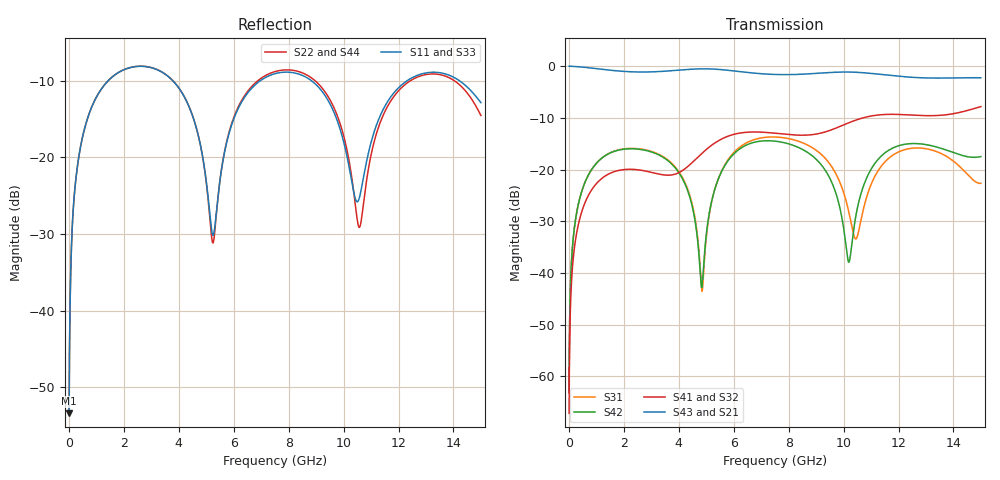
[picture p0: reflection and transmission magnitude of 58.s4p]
! Created with skrf 1.8.0 (http://scikit-rf.org).
# GHz S RI R 50.0
!freq ReS11 ImS11 ReS12 ImS12 ReS13 ImS13
! ReS14 ImS14
! ReS21 ImS21 ReS22 ImS22 ReS23 ImS23
! ReS24 ImS24
! ReS31 ImS31 ReS32 ImS32 ReS33 ImS33
! ReS34 ImS34
! ReS41 ImS41 ReS42 ImS42 ReS43 ImS43
! ReS44 ImS44
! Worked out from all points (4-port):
!   2499 points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, 5 MHz to 15 GHz, reference 50 ohm
!   strongest paths, dB at 5 MHz, 3.476 GHz, 7.19 GHz, 11.1 GHz, 15 GHz:
!     S43: 0.0, -1.0, -1.5, -1.5, -2.3
!     S21: 0.0, -1.0, -1.5, -1.5, -2.2
!     S41: -67.2, -21.1, -12.8, -9.6, -7.8
!     S32: -67.2, -21.1, -12.9, -9.6, -7.8
!     S42: -63.2, -17.8, -14.4, -19.1, -17.5
!     S31: -63.2, -17.7, -13.8, -21.7, -22.7
!   lowest |S11| = -53.4 dB at 5 MHz (marker M1), VSWR 1.00, Z = 50.2 + j0.13 ohm
!   |S11| at or under -10 dB: start of sweep to 1.434 GHz; 3.774 GHz to 6.975 GHz (3.202 GHz wide, 59.6 % of centre); 8.82 GHz to 12.32 GHz (3.501 GHz wide, 33.1 % of centre) (the widest 3 of 4)
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0.005  0.00171 0.0013  0.9983 -0.00333  8.65e-05 0.00069  -8.39e-05 -0.000431
       0.9983 -0.00333  0.00171 0.0013  -8.39e-05 -0.000431  8.65e-05 0.00069
       8.65e-05 0.00069  -8.39e-05 -0.000431  0.00171 0.0013  0.9983 -0.00333
       -8.39e-05 -0.000431  8.65e-05 0.00069  0.9983 -0.00333  0.00171 0.0013
0.3126303  0.0258 0.085  0.9647 -0.2067  0.0122 0.0407  -0.01 -0.0251
           0.9647 -0.2067  0.0258 0.085  -0.01 -0.0251  0.012 0.0408
           0.0122 0.0407  -0.01 -0.0251  0.0258 0.085  0.9647 -0.2067
           -0.01 -0.0251  0.012 0.0408  0.9647 -0.2067  0.0258 0.085
1.569404  0.2857 0.1711  0.5129 -0.7496  0.1369 0.056  -0.0937 9.42e-05
          0.5129 -0.7496  0.2866 0.1704  -0.0936 -4.67e-05  0.1347 0.0591
          0.1369 0.056  -0.0936 -4.67e-05  0.2857 0.171  0.5129 -0.7496
          -0.0937 9.42e-05  0.1347 0.0591  0.5129 -0.7496  0.2864 0.1704
4.845769  0.052 -0.0926  -0.8914 -0.2997  -0.00663 -0.000375  -0.0406 0.1378
          -0.8914 -0.2997  0.0484 -0.0938  -0.0426 0.1372  -0.00736 0.000674
          -0.00663 -0.000375  -0.0426 0.1372  0.0507 -0.0917  -0.8916 -0.2996
          -0.0406 0.1378  -0.00736 0.000674  -0.8916 -0.2996  0.0489 -0.0923
8.115882  0.3556 -0.0304  -0.0124 0.8281  0.164 -0.1069  0.2043 -0.072
          -0.0124 0.8281  0.367 -0.043  0.2045 -0.0675  0.1617 -0.0616
          0.164 -0.1069  0.2045 -0.0675  0.3562 -0.0295  -0.0134 0.8282
          0.2043 -0.072  0.1617 -0.0616  -0.0134 0.8282  0.366 -0.043
10.88579  0.0699 0.0756  0.8536 -0.0577  0.0255 0.0534  -0.041 -0.3218
          0.8536 -0.0577  0.0505 0.0625  -0.0324 -0.3225  0.0646 0.0598
          0.0255 0.0534  -0.0324 -0.3225  0.0704 0.0807  0.8533 -0.0568
          -0.041 -0.3218  0.0646 0.0598  0.8533 -0.0568  0.0504 0.0663
15  0.2017 -0.1042  -0.5797 -0.5102  -0.0733 0.00452  -0.2706 0.3023
    -0.5797 -0.5102  0.1637 -0.0909  -0.2814 0.2923  -0.1316 -0.0212
    -0.0733 0.00452  -0.2814 0.2923  0.2112 -0.1083  -0.5717 -0.5157
    -0.2706 0.3023  -0.1316 -0.0212  -0.5717 -0.5157  0.1726 -0.0989
